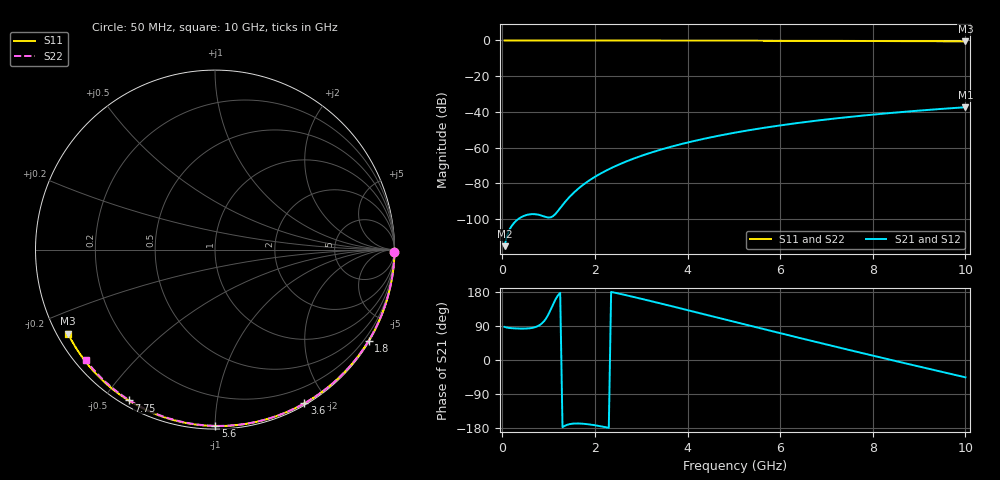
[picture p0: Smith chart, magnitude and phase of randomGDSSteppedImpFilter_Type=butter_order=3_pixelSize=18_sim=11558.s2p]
! freq	dB(S11)	phase(S11)	dB(S12)	phase(S12)
!  dB(S21)	phase(S21)	dB(S22)	phase(S22)
!S-par simulation data
#  GHz  S  DB  R 50
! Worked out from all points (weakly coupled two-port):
!   200 points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, 50 MHz to 10 GHz, reference 50 ohm
!   highest |S21| = -37.41 dB at 10 GHz (marker M1); lowest = -115.2 dB at 50 MHz (marker M2)
!   lowest |S11| = -0.5 dB at 10 GHz (marker M3), VSWR 34.24, Z = 1.56 - j13.3 ohm
!   |S11| at or under -10 dB: nowhere
!   |S22| runs from -0.5 to 0.0 dB; largest |S21 - S12| = 0
!   S11 on the Smith chart (normalised r, x): 50 MHz: open; 1.8 GHz: 0.03, -3.64; 3.6 GHz: 0.02, -1.74; 5.6 GHz: 0.02, -1.00; 7.75 GHz: 0.02, -0.58; 10 GHz: 0.03, -0.27
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0.05  -0.00 -0.9  -115.24 87.3  -115.24 87.3  -0.00 -0.8
0.45  -0.01 -7.8  -98.47 82.8  -98.47 82.8  -0.01 -7.3
0.9  -0.02 -15.5  -98.56 102.1  -98.56 102.1  -0.02 -14.5
1.3  -0.03 -22.3  -92.23 -177.3  -92.23 -177.3  -0.03 -20.8
1.75  -0.04 -29.9  -80.77 -168.3  -80.77 -168.3  -0.04 -27.9
1.8  -0.04 -30.7  -79.81 -168.9  -79.81 -168.9  -0.04 -28.6
1.95  -0.04 -33.2  -77.20 -171.3  -77.20 -171.3  -0.04 -31.0
2.1  -0.05 -35.7  -74.89 -174.3  -74.89 -174.3  -0.04 -33.3
2.3  -0.05 -39.0  -72.15 -179.1  -72.15 -179.1  -0.05 -36.4
2.5  -0.05 -42.2  -69.73 175.7  -69.73 175.7  -0.05 -39.4
2.9  -0.06 -48.7  -65.58 164.5  -65.58 164.5  -0.06 -45.5
3.4  -0.08 -56.7  -61.33 149.8  -61.33 149.8  -0.07 -53.0
3.6  -0.08 -59.8  -59.85 143.8  -59.85 143.8  -0.08 -55.9
4.3  -0.10 -70.7  -55.39 122.5  -55.39 122.5  -0.09 -66.0
5.05  -0.13 -81.9  -51.53 99.6  -51.53 99.6  -0.12 -76.6
5.6  -0.15 -89.9  -49.14 82.9  -49.14 82.9  -0.14 -84.1
6.15  -0.17 -97.7  -47.04 66.3  -47.04 66.3  -0.16 -91.4
6.7  -0.21 -105.4  -45.19 49.8  -45.19 49.8  -0.19 -98.6
7.75  -0.28 -119.8  -42.18 18.9  -42.18 18.9  -0.26 -111.9
8.35  -0.33 -127.9  -40.71 1.4  -40.71 1.4  -0.31 -119.4
9.2  -0.41 -139.3  -38.89 -23.0  -38.89 -23.0  -0.38 -129.8
10  -0.51 -150.2  -37.41 -45.7  -37.41 -45.7  -0.47 -139.6
